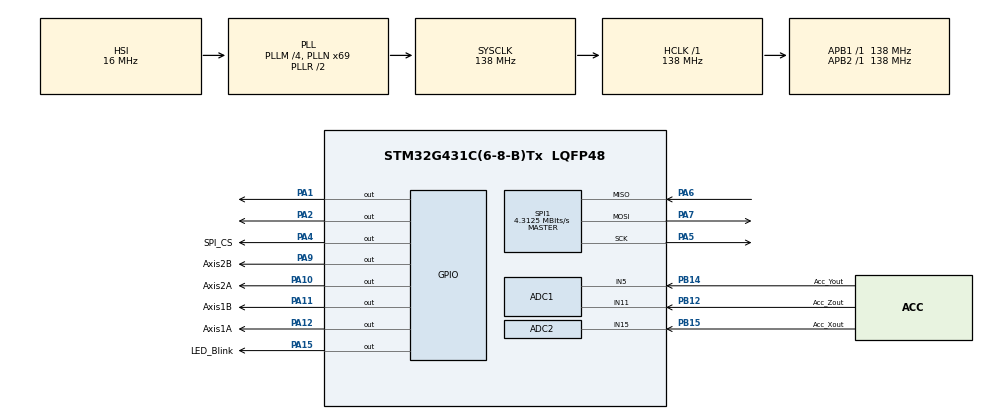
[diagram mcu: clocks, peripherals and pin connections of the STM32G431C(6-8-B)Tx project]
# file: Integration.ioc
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ADC1.Channel-0\#ChannelRegularConversion=ADC_CHANNEL_5
ADC1.Channel-1\#ChannelRegularConversion=ADC_CHANNEL_11
ADC1.ClockPrescaler=ADC_CLOCK_ASYNC_DIV4
ADC1.ContinuousConvMode=ENABLE
ADC1.DMAContinuousRequests=ENABLE
ADC1.EOCSelection=ADC_EOC_SEQ_CONV
ADC1.NbrOfConversion=2
ADC1.NbrOfConversionFlag=1
ADC1.OffsetNumber-0\#ChannelRegularConversion=ADC_OFFSET_NONE
ADC1.OffsetNumber-1\#ChannelRegularConversion=ADC_OFFSET_NONE
ADC1.OversamplingMode=ENABLE
ADC1.OversamplingStopReset=ADC_REGOVERSAMPLING_RESUMED_MODE
ADC1.Rank-0\#ChannelRegularConversion=1
ADC1.Rank-1\#ChannelRegularConversion=2
ADC1.Ratio=ADC_OVERSAMPLING_RATIO_256
ADC1.RightBitShift=ADC_RIGHTBITSHIFT_4
ADC1.SamplingTime-0\#ChannelRegularConversion=ADC_SAMPLETIME_92CYCLES_5
ADC1.SamplingTime-1\#ChannelRegularConversion=ADC_SAMPLETIME_92CYCLES_5
ADC1.TriggeredMode=ADC_TRIGGEREDMODE_SINGLE_TRIGGER
ADC1.master=1
ADC2.Channel-1\#ChannelRegularConversion=ADC_CHANNEL_15
ADC2.ClockPrescaler=ADC_CLOCK_ASYNC_DIV4
ADC2.ContinuousConvMode=ENABLE
ADC2.DMAContinuousRequests=ENABLE
ADC2.EOCSelection=ADC_EOC_SEQ_CONV
ADC2.NbrOfConversion=1
ADC2.NbrOfConversionFlag=1
ADC2.OffsetNumber-1\#ChannelRegularConversion=ADC_OFFSET_NONE
ADC2.OversamplingMode=ENABLE
ADC2.OversamplingStopReset=ADC_REGOVERSAMPLING_RESUMED_MODE
ADC2.Rank-1\#ChannelRegularConversion=1
ADC2.Ratio=ADC_OVERSAMPLING_RATIO_256
ADC2.RightBitShift=ADC_RIGHTBITSHIFT_4
ADC2.SamplingTime-1\#ChannelRegularConversion=ADC_SAMPLETIME_92CYCLES_5
Dma.ADC1.0.Direction=DMA_PERIPH_TO_MEMORY
Dma.ADC1.0.EventEnable=DISABLE
Dma.ADC1.0.Instance=DMA1_Channel1
Dma.ADC1.0.MemDataAlignment=DMA_MDATAALIGN_HALFWORD
Dma.ADC1.0.MemInc=DMA_MINC_ENABLE
Dma.ADC1.0.Mode=DMA_CIRCULAR
Dma.ADC1.0.PeriphDataAlignment=DMA_PDATAALIGN_HALFWORD
Dma.ADC1.0.PeriphInc=DMA_PINC_DISABLE
Dma.ADC1.0.Polarity=HAL_DMAMUX_REQ_GEN_RISING
Dma.ADC1.0.Priority=DMA_PRIORITY_MEDIUM
Dma.ADC1.0.RequestNumber=1
Dma.ADC1.0.SignalID=NONE
Dma.ADC1.0.SyncEnable=DISABLE
Dma.ADC1.0.SyncPolarity=HAL_DMAMUX_SYNC_NO_EVENT
Dma.ADC1.0.SyncRequestNumber=1
Dma.ADC1.0.SyncSignalID=NONE
Dma.ADC2.1.Direction=DMA_PERIPH_TO_MEMORY
Dma.ADC2.1.EventEnable=DISABLE
Dma.ADC2.1.Instance=DMA1_Channel2
Dma.ADC2.1.MemDataAlignment=DMA_MDATAALIGN_HALFWORD
Dma.ADC2.1.MemInc=DMA_MINC_ENABLE
Dma.ADC2.1.Mode=DMA_CIRCULAR
Dma.ADC2.1.PeriphDataAlignment=DMA_PDATAALIGN_HALFWORD
Dma.ADC2.1.PeriphInc=DMA_PINC_DISABLE
Dma.ADC2.1.Polarity=HAL_DMAMUX_REQ_GEN_RISING
Dma.ADC2.1.Priority=DMA_PRIORITY_MEDIUM
Dma.ADC2.1.RequestNumber=1
Dma.ADC2.1.SignalID=NONE
Dma.ADC2.1.SyncEnable=DISABLE
Dma.ADC2.1.SyncPolarity=HAL_DMAMUX_SYNC_NO_EVENT
Dma.ADC2.1.SyncRequestNumber=1
Dma.ADC2.1.SyncSignalID=NONE
Dma.Request0=ADC1
Dma.Request1=ADC2
Dma.Request2=SPI1_RX
Dma.SPI1_RX.2.Direction=DMA_PERIPH_TO_MEMORY
Dma.SPI1_RX.2.EventEnable=DISABLE
Dma.SPI1_RX.2.Instance=DMA1_Channel3
Dma.SPI1_RX.2.MemDataAlignment=DMA_MDATAALIGN_BYTE
Dma.SPI1_RX.2.MemInc=DMA_MINC_ENABLE
Dma.SPI1_RX.2.Mode=DMA_NORMAL
Dma.SPI1_RX.2.PeriphDataAlignment=DMA_PDATAALIGN_BYTE
Dma.SPI1_RX.2.PeriphInc=DMA_PINC_DISABLE
Dma.SPI1_RX.2.Polarity=HAL_DMAMUX_REQ_GEN_RISING
Dma.SPI1_RX.2.Priority=DMA_PRIORITY_LOW
Dma.SPI1_RX.2.RequestNumber=1
Dma.SPI1_RX.2.SignalID=NONE
Dma.SPI1_RX.2.SyncEnable=DISABLE
Dma.SPI1_RX.2.SyncPolarity=HAL_DMAMUX_SYNC_NO_EVENT
Dma.SPI1_RX.2.SyncRequestNumber=1
Dma.SPI1_RX.2.SyncSignalID=NONE
Mcu.Family=STM32G4
Mcu.Name=STM32G431C(6-8-B)Tx
Mcu.Package=LQFP48
NVIC.DMA1_Channel1_IRQn=true\:0\:0\:false\:false\:true\:false\:true\:true
NVIC.DMA1_Channel2_IRQn=true\:0\:0\:false\:false\:true\:false\:true\:true
NVIC.DMA1_Channel3_IRQn=true\:0\:0\:false\:false\:true\:false\:true\:true
NVIC.PriorityGroup=NVIC_PRIORITYGROUP_4
NVIC.TIM6_DAC_IRQn=true\:1\:0\:true\:false\:true\:true\:true\:true
NVIC.TIM7_IRQn=true\:0\:0\:false\:false\:true\:true\:true\:true
PA1.Signal=GPIO_Output
PA10.GPIO_Label=Axis2A
PA10.Signal=GPIO_Output
PA11.GPIO_Label=Axis1B
PA11.Signal=GPIO_Output
PA12.GPIO_Label=Axis1A
PA12.Signal=GPIO_Output
PA13.Mode=Serial_Wire
PA13.Signal=SYS_JTMS-SWDIO
PA14.Mode=Serial_Wire
PA14.Signal=SYS_JTCK-SWCLK
PA15.GPIO_Label=LED_Blink
PA15.Signal=GPIO_Output
PA2.Signal=GPIO_Output
PA4.GPIO_Label=SPI_CS
PA4.Signal=GPIO_Output
PA5.Mode=Full_Duplex_Master
PA5.Signal=SPI1_SCK
PA6.Mode=Full_Duplex_Master
PA6.Signal=SPI1_MISO
PA7.Mode=Full_Duplex_Master
PA7.Signal=SPI1_MOSI
PA9.GPIO_Label=Axis2B
PA9.Signal=GPIO_Output
PB12.GPIO_Label=Acc_Zout
PB12.Mode=IN11-Single-Ended
PB12.Signal=ADC1_IN11
PB14.GPIO_Label=Acc_Yout
PB14.Mode=IN5-Single-Ended
PB14.Signal=ADC1_IN5
PB15.GPIO_Label=Acc_Xout
PB15.Mode=IN15-Single-Ended
PB15.Signal=ADC2_IN15
ProjectManager.HeapSize=0x200
ProjectManager.StackSize=0x400
ProjectManager.TargetToolchain=STM32CubeIDE
RCC.ADC12Freq_Value=138000000
RCC.AHBFreq_Value=138000000
RCC.APB1Freq_Value=138000000
RCC.APB1TimFreq_Value=138000000
RCC.APB2Freq_Value=138000000
RCC.APB2TimFreq_Value=138000000
RCC.CortexFreq_Value=138000000
RCC.EXTERNAL_CLOCK_VALUE=12288000
RCC.HCLKFreq_Value=138000000
RCC.HSE_VALUE=8000000
RCC.HSI48_VALUE=48000000
RCC.HSI_VALUE=16000000
RCC.LSE_VALUE=32768
RCC.PLLM=RCC_PLLM_DIV4
RCC.PLLN=69
RCC.SYSCLKFreq_VALUE=138000000
RCC.SYSCLKSource=RCC_SYSCLKSOURCE_PLLCLK
RCC.USBFreq_Value=138000000
RCC.VCOOutputFreq_Value=276000000
SPI1.BaudRatePrescaler=SPI_BAUDRATEPRESCALER_32
SPI1.CalculateBaudRate=4.3125 MBits/s
SPI1.DataSize=SPI_DATASIZE_8BIT
SPI1.Direction=SPI_DIRECTION_2LINES
SPI1.Mode=SPI_MODE_MASTER
SPI1.NSSPMode=SPI_NSS_PULSE_DISABLE
SPI1.VirtualType=VM_MASTER
TIM6.PeriodNoDither=2874
TIM6.Prescaler=74
TIM7.PeriodNoDither=1999
TIM7.Prescaler=9
VP_SYS_VS_DBSignals.Mode=DisableDeadBatterySignals
VP_TIM6_VS_ClockSourceINT.Mode=Enable_Timer
VP_TIM7_VS_ClockSourceINT.Mode=Enable_Timer
board=custom

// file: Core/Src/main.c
/* USER CODE BEGIN Header */
/**
  ******************************************************************************
  * @file           : main.c
  * @brief          : Main program body
  ******************************************************************************
  * @attention
  *
  * Copyright (c) 2026 STMicroelectronics.
  * All rights reserved.
  *
  * This software is licensed under terms that can be found in the LICENSE file
  * in the root directory of this software component.
  * If no LICENSE file comes with this software, it is provided AS-IS.
  *
  ******************************************************************************
  */
/* USER CODE END Header */
#include "main.h"
#include "adc.h"
#include "dma.h"
#include "spi.h"
#include "tim.h"
#include "gpio.h"

/* USER CODE BEGIN Includes */
#include "kalman.h"
#include "quadrature_output.h"
#include "stm32g4xx_it.h"
/* USER CODE END Includes */

/* USER CODE BEGIN PD */
#define CLOCK_SPEED 138000000.0f
/* USER CODE END PD */

void SystemClock_Config(void);
/* USER CODE BEGIN PFP */
void DWT_Init(void);
float ComputeKalmanDT(void);
/* USER CODE END PFP */

int main(void)
{

  /* MCU Configuration--------------------------------------------------------*/

  /* Reset of all peripherals, Initializes the Flash interface and the Systick. */
  HAL_Init();

  /* Configure the system clock */
  SystemClock_Config();

  /* USER CODE BEGIN SysInit */
  DWT_Init();
  /* USER CODE END SysInit */

  /* Initialize all configured peripherals */
  MX_GPIO_Init();
  MX_DMA_Init();
  MX_SPI1_Init();
  MX_TIM6_Init();
  MX_TIM7_Init();
  MX_ADC1_Init();
  MX_ADC2_Init();
  /* USER CODE BEGIN 2 */
  HAL_TIM_Base_Start_IT(&htim6);
  HAL_TIM_Base_Start_IT(&htim7);
  ADC_Start();

  StateVector state_vector = StateVector_Construct();
  ErrorCovarianceMatrix error_covariance_matrix = ErrorCovarianceMatrix_Construct();
  const ProcessNoiseMatrix process_noise_matrix = ProcessNoiseMatrix_Construct();
  const MeasurementNoiseMatrix measurement_noise_matrix = MeasurementNoiseMatrix_Construct();

  QuadratureOutput quad_pkg = QuadratureOutput_Construct(4096, 1);
  QuadratureOutput_Initialize(&quad_pkg, 0.0, 0.0);

  /* USER CODE END 2 */

  /* Infinite loop */
  /* USER CODE BEGIN WHILE */
  while (1)
  {
	if (GetQuadReady()) { // Runs every 6900 Hz (approx. 0.145 milliseconds)
		// quadrature output update
		QuadratureOutput_Update(&quad_pkg, state_vector.vector[PITCH], 0.0);
	}
	if (GetKalmanReady()) { // Runs every 640 Hz (approx. 1.5625 milliseconds)
		float dt = ComputeKalmanDT();
		if (dt > 0.0f) {
			// SPI read gyro
			GyroSample gyro_sample;
			gyro_sample.gx = 0;
			gyro_sample.gy = 0;
			gyro_sample.gz = 0;

			// MCU ADC read accel
			AccelSample accel_sample = ADC_GetAccelSample();
			float ax = accel_sample.ax;
			float ay = accel_sample.ay;
			float az = accel_sample.az;
			// Run Kalman filter
			kalman_run(
					dt,
					&state_vector,
					&error_covariance_matrix,
					&gyro_sample,
					&accel_sample,
					&process_noise_matrix,
					&measurement_noise_matrix
			);
		}
	}
  }
    /* USER CODE END WHILE */

}

void SystemClock_Config(void)
{
  RCC_OscInitTypeDef RCC_OscInitStruct = {0};
  RCC_ClkInitTypeDef RCC_ClkInitStruct = {0};

  /** Configure the main internal regulator output voltage
  */
  HAL_PWREx_ControlVoltageScaling(PWR_REGULATOR_VOLTAGE_SCALE1);

  /** Initializes the RCC Oscillators according to the specified parameters
  * in the RCC_OscInitTypeDef structure.
  */
  RCC_OscInitStruct.OscillatorType = RCC_OSCILLATORTYPE_HSI;
  RCC_OscInitStruct.HSIState = RCC_HSI_ON;
  RCC_OscInitStruct.HSICalibrationValue = RCC_HSICALIBRATION_DEFAULT;
  RCC_OscInitStruct.PLL.PLLState = RCC_PLL_ON;
  RCC_OscInitStruct.PLL.PLLSource = RCC_PLLSOURCE_HSI;
  RCC_OscInitStruct.PLL.PLLM = RCC_PLLM_DIV4;
  RCC_OscInitStruct.PLL.PLLN = 69;
  RCC_OscInitStruct.PLL.PLLP = RCC_PLLP_DIV2;
  RCC_OscInitStruct.PLL.PLLQ = RCC_PLLQ_DIV2;
  RCC_OscInitStruct.PLL.PLLR = RCC_PLLR_DIV2;
  if (HAL_RCC_OscConfig(&RCC_OscInitStruct) != HAL_OK)
  {
    Error_Handler();
  }

  /** Initializes the CPU, AHB and APB buses clocks
  */
  RCC_ClkInitStruct.ClockType = RCC_CLOCKTYPE_HCLK|RCC_CLOCKTYPE_SYSCLK
                              |RCC_CLOCKTYPE_PCLK1|RCC_CLOCKTYPE_PCLK2;
  RCC_ClkInitStruct.SYSCLKSource = RCC_SYSCLKSOURCE_PLLCLK;
  RCC_ClkInitStruct.AHBCLKDivider = RCC_SYSCLK_DIV1;
  RCC_ClkInitStruct.APB1CLKDivider = RCC_HCLK_DIV1;
  RCC_ClkInitStruct.APB2CLKDivider = RCC_HCLK_DIV1;

  if (HAL_RCC_ClockConfig(&RCC_ClkInitStruct, FLASH_LATENCY_4) != HAL_OK)
  {
    Error_Handler();
  }
}

/* USER CODE BEGIN 4 */

// https://tinyurl.com/yc4ychvr
void DWT_Init(void) {
	// Enable access to DWT registers
    CoreDebug->DEMCR |= CoreDebug_DEMCR_TRCENA_Msk;

    // Reset the cycle counter
    DWT->CYCCNT = 0;

    // Start counting CPU cycles
    DWT->CTRL |= DWT_CTRL_CYCCNTENA_Msk;
}

float ComputeKalmanDT(void) {
    static uint32_t last_tick = 0;
    static bool initialized = false;

    uint32_t now = DWT->CYCCNT;

    if (!initialized) {
        last_tick = now;
        initialized = true;
        return 0.0f;
    }

    float dt = (float)(now - last_tick) / CLOCK_SPEED;
    last_tick = now;
    return dt;
}
/* USER CODE END 4 */

void Error_Handler(void)
{
  __disable_irq();
  while (1)
  {
  }
}
